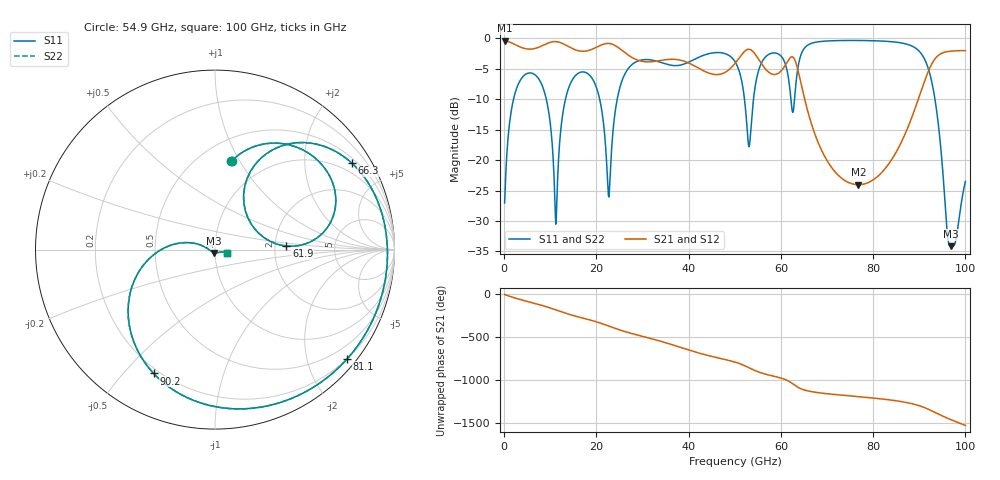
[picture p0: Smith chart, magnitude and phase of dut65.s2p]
! Touchstone file exported from HFSS 2026.1.0
!  File:  C:/ffzhzh/LocalFiles/Ansys_Project_Files/temp_train_TSV_RDL_65_1783624885_26216.aedt
!  Generated:  03:48:21 AM Jul 10, 2026
!  Design:  TSV_RDL
!  Project:  temp_train_TSV_RDL_65_1783624885_26216
! Variables:
!  h_bsmrdl = 2.2um
!  h_ox = 20um
!  h_rdl = 5um
!  h_sub = 87.19um
!  h_tmrdl = 3.57um
!  h_tsv = 87.19um
!  h_via = 3um
!  l_bsmrdl = 696.94um
!  l_sub = 5077.08um
!  l_tmrdl = 619.88um
!  m_sub = 200um
!  pitch = 45.45um
!  r_tsv = 13.94um
!  s_tmrdl = 10um
!  w_bsmrdl = 10.82um
!  w_sub = 500um
!  w_tmrdl = 24.76um
!  x_tsv_center1 = 632.26um
!  x_tsv_center2 = 1340.02um
!  x_tsv_center3 = 1984.66um
!  x_tsv_center4 = 2692.42um
!  x_tsv_center5 = 3337.06um
!  x_tsv_center6 = 4044.82um
# GHz S MA R 50.000000
! Terminal data exported
! Port[1] = TM_RDL1_1_T1
! Port[2] = TM_RDL5_1_T1
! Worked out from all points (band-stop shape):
!   1000 points, 100 MHz to 100 GHz, reference 50 ohm
!   highest |S21| = -0.36 dB at 100 MHz (marker M1); lowest = -24.0 dB at 76.8 GHz (marker M2)
!   |S21| within 3 dB of the highest: start of sweep to 28.33 GHz; 93.4 GHz to end of sweep (the widest 2 of 4)
!   lowest |S11| = -34.1 dB at 96.9 GHz (marker M3), VSWR 1.04, Z = 49.4 - j1.86 ohm
!   |S11| at or under -10 dB: 9.148 GHz to 13.29 GHz (4.138 GHz wide, 36.9 % of centre); 20.72 GHz to 24.51 GHz (3.787 GHz wide, 16.7 % of centre); 93.41 GHz to end of sweep (the widest 3 of 6)
!   |S22| runs from -34.3 to -0.3 dB; largest |S21 - S12| = 1.5e-13
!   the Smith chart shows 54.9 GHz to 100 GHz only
!   S11 on the Smith chart (normalised r, x): 54.9 GHz: 0.70, +0.92; 61.9 GHz: 2.32, +0.11; 66.3 GHz: 0.65, +3.35; 81.1 GHz: 0.20, -2.77; 90.2 GHz: 0.18, -0.61; 100 GHz: 1.14, -0.04
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0.1  0.04451 23.0  0.9595 -2.0  0.9595 -2.0  0.04451 23.0
! Gamma 0 0 0 0
! Port Impedance 50 0 50 0
5.1  0.5176 3.8  0.8194 -83.2  0.8194 -83.2  0.5176 3.8
10.7  0.09143 -65.5  0.9413 -172.0  0.9413 -172.0  0.09149 -65.4
16.8  0.5307 -3.7  0.7857 87.9  0.7857 87.9  0.5307 -3.7
22.6  0.05135 -24.3  0.9104 -7.1  0.9104 -7.1  0.05143 -24.2
26.6  0.5448 6.0  0.7447 -79.4  0.7447 -79.4  0.5448 6.0
33.4  0.6457 -86.7  0.6551 -176.9  0.6551 -176.9  0.6457 -86.6
39.2  0.6207 174.6  0.6471 85.8  0.6471 85.8  0.6207 174.7
44.6  0.7538 92.4  0.516 3.7  0.516 3.7  0.7537 92.4
50.1  0.6406 26.6  0.6276 -68.7  0.6276 -68.7  0.6406 26.6
53.1  0.1291 45.9  0.8154 -134.2  0.8154 -134.2  0.1295 45.8
54.9  0.5001 79.4  0.6991 -177.9  0.6991 -177.9  0.5002 79.4
61.9  0.3982 2.8  0.6872 63.9  0.6872 63.9  0.3985 2.9
66.3  0.9024 32.2  0.2181 -48.4  0.2181 -48.4  0.9024 32.1
66.7  0.9147 29.0  0.1947 -52.4  0.1947 -52.4  0.9147 29.0
76.8  0.9632 -19.8  0.06287 -109.7  0.06287 -109.7  0.9632 -19.8
81.1  0.9554 -39.6  0.07426 -132.1  0.07426 -132.1  0.9555 -39.6
83.4  0.9451 -52.2  0.09339 -146.4  0.09339 -146.4  0.9451 -52.2
90.2  0.7699 -116.4  0.3515 141.0  0.3515 141.0  0.7701 -116.4
93.5  0.2997 -180.0  0.6873 64.3  0.6873 64.3  0.3002 -180.0
96.9  0.01966 -107.1  0.7872 -18.9  0.7872 -18.9  0.01952 -108.8
100  0.06688 -15.4  0.7956 -85.0  0.7956 -85.0  0.06666 -15.4
